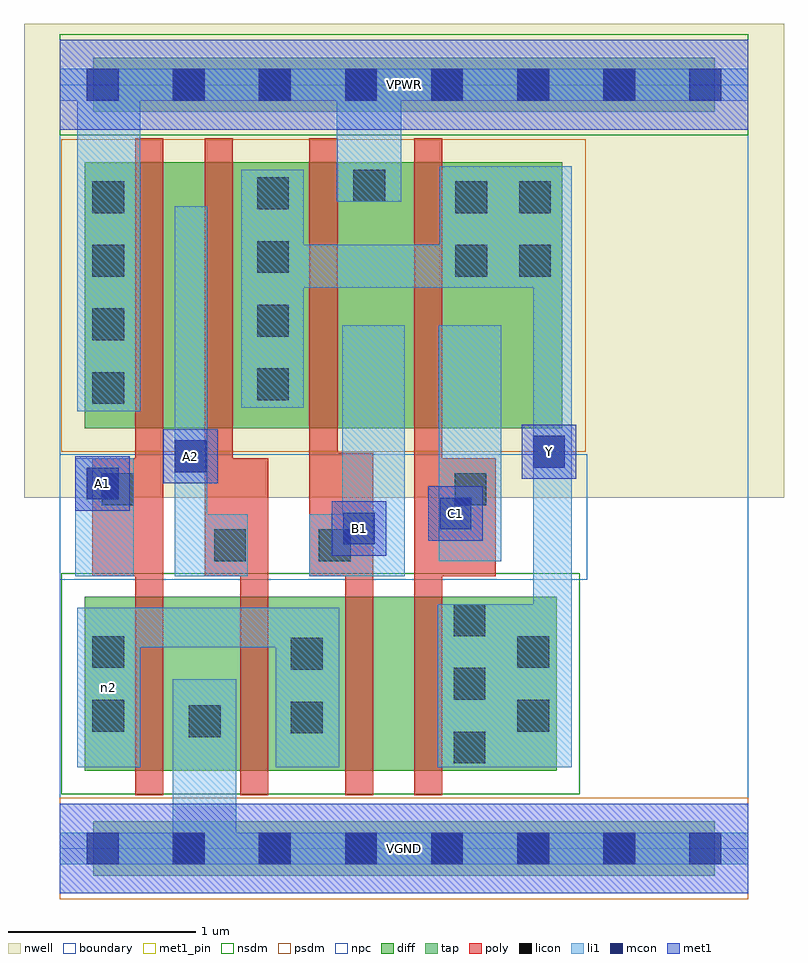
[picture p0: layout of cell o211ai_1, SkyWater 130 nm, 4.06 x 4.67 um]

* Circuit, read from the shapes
.subckt o211ai_1 A1 A2 B1 C1 VGND VPWR Y n2
XM1 VGND A1 n2 VGND sky130_fd_pr__nfet_01v8 w=0.93 l=0.15
XM2 n2 A2 VGND VGND sky130_fd_pr__nfet_01v8 w=0.93 l=0.15
XM3 n1 B1 n2 VGND sky130_fd_pr__nfet_01v8 w=0.93 l=0.15
XM4 Y C1 n1 VGND sky130_fd_pr__nfet_01v8 w=0.93 l=0.15
XM5 n3 A1 VPWR VPWR sky130_fd_pr__pfet_01v8 w=1.42 l=0.15
XM6 Y A2 n3 VPWR sky130_fd_pr__pfet_01v8 w=1.42 l=0.15
XM7 VPWR B1 Y VPWR sky130_fd_pr__pfet_01v8 w=1.42 l=0.15
XM8 Y C1 VPWR VPWR sky130_fd_pr__pfet_01v8 w=1.42 l=0.15
.ends

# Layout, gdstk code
import gdstk
lib = gdstk.Library(unit=1e-6, precision=1e-09)
def R(c, l, rs):  # rectangles x0, y0, x1, y1
    for r in rs: c.add(gdstk.rectangle(r[:2], r[2:], *l))
def A(c, l, x, y, w, h, nx, ny, dx, dy):  # array of equal rectangles
    R(c, l, [(x+i*dx, y+j*dy, x+i*dx+w, y+j*dy+h) for i in range(nx) for j in range(ny)])
nwell = (64, 20)
diff = (65, 20)
tap = (65, 44)
poly = (66, 20)
licon = (66, 44)
li1 = (67, 20)
mcon = (67, 44)
met1_pin = (68, 16)
met1 = (68, 20)
nsdm = (93, 44)
psdm = (94, 20)
npc = (95, 20)
boundary = (235, 4)

o211ai_1 = lib.new_cell('o211ai_1')
R(o211ai_1, nwell, [(-0.19,1.875,3.87,4.405), (0,1.875,3.68,4.405)])
R(o211ai_1, diff, [(0.135,0.415,2.655,1.345), (0.135,2.245,2.685,3.665)])
R(o211ai_1, tap, [(0.18,-0.145,3.5,0.145), (0.18,3.935,3.5,4.225)])
R(o211ai_1, poly, [(0.405,0.285,0.555,3.795), (0.965,0.285,1.115,2.085), (1.525,0.285,1.675,2.115), (1.895,0.285,2.045,3.795), (0.175,1.455,0.555,2.085), (0.775,1.455,0.925,3.795), (0.775,1.455,1.115,2.085), (1.335,1.455,1.485,3.795), (1.335,1.455,1.675,2.115), (1.895,1.455,2.33,2.085)])
A(o211ai_1, licon, 0.605, -0.085, 0.17, 0.17, 6, 2, 0.46, 4.08)
A(o211ai_1, licon, 2.105, 0.455, 0.17, 0.17, 1, 3, 0, 0.34)
A(o211ai_1, licon, 0.175, 2.375, 0.17, 0.17, 1, 4, 0, 0.34)
A(o211ai_1, licon, 1.055, 2.395, 0.17, 0.17, 1, 4, 0, 0.34)
R(o211ai_1, licon, [(0.69,0.595,0.86,0.765), (1.235,0.615,1.405,0.785), (0.175,0.625,0.345,0.795), (2.445,0.625,2.615,0.795), (1.235,0.955,1.405,1.125), (0.175,0.965,0.345,1.135), (2.445,0.965,2.615,1.135), (0.825,1.535,0.995,1.705), (1.385,1.535,1.555,1.705), (0.225,1.835,0.395,2.005), (2.11,1.835,2.28,2.005), (2.115,3.055,2.285,3.225), (2.455,3.055,2.625,3.225), (2.115,3.395,2.285,3.565), (2.455,3.395,2.625,3.565), (1.57,3.455,1.74,3.625)])
R(o211ai_1, li1, [(0,-0.085,3.68,0.085), (0.605,-0.085,0.945,0.905), (0.095,0.435,0.43,1.285), (1.155,0.435,1.495,1.285), (2.02,0.435,2.735,1.305), (2.53,0.435,2.735,3.645), (0.095,1.075,1.495,1.285), (0.085,1.455,0.395,2.085), (0.615,1.455,0.79,3.43), (0.615,1.455,1.005,1.785), (1.335,1.455,1.845,1.785), (1.51,1.455,1.845,2.795), (2.025,1.535,2.36,2.795), (0.095,2.335,0.43,4.165), (0.97,2.355,1.305,3.625), (0.97,2.995,2.735,3.225), (2.03,2.995,2.735,3.645), (1.48,3.455,1.825,4.165), (0,3.995,3.68,4.165)])
A(o211ai_1, mcon, 0.145, -0.085, 0.17, 0.17, 8, 2, 0.46, 4.08)
R(o211ai_1, mcon, [(1.515,1.625,1.685,1.795), (2.03,1.705,2.2,1.875), (0.145,1.865,0.315,2.035), (0.615,2.01,0.785,2.18), (2.53,2.035,2.7,2.205)])
R(o211ai_1, met1_pin, [(0,-0.24,3.68,0.24), (1.455,1.565,1.745,1.855), (1.97,1.645,2.26,1.935), (0.085,1.805,0.375,2.095), (0.555,1.95,0.845,2.24), (2.47,1.975,2.76,2.265), (0,3.84,3.68,4.32)])
R(o211ai_1, met1, [(0,-0.24,3.68,0.24), (1.455,1.565,1.745,1.855), (1.97,1.645,2.26,1.935), (0.085,1.805,0.375,2.095), (0.555,1.95,0.845,2.24), (2.47,1.975,2.76,2.265), (0,3.84,3.68,4.32)])
R(o211ai_1, nsdm, [(0.01,0.29,2.78,1.47), (0,3.81,3.68,4.35)])
R(o211ai_1, psdm, [(0,-0.27,3.68,0.27), (0.01,2.12,2.81,3.79)])
R(o211ai_1, npc, [(0,1.435,2.82,2.105)])
R(o211ai_1, boundary, [(0,0,3.68,4.08)])
o211ai_1.add(gdstk.Label('n2', (0.262,0.86), layer=67, texttype=5))
o211ai_1.add(gdstk.Label('A1', (0.23,1.95), layer=68, texttype=5))
o211ai_1.add(gdstk.Label('A2', (0.7,2.095), layer=68, texttype=5))
o211ai_1.add(gdstk.Label('B1', (1.6,1.71), layer=68, texttype=5))
o211ai_1.add(gdstk.Label('C1', (2.115,1.79), layer=68, texttype=5))
o211ai_1.add(gdstk.Label('Y', (2.615,2.12), layer=68, texttype=5))
o211ai_1.add(gdstk.Label('VPWR', (1.84,4.08), layer=68, texttype=5))
o211ai_1.add(gdstk.Label('VGND', (1.84,0), layer=68, texttype=5))
o211ai_1.add(gdstk.Label('A1', (0.23,1.95), layer=68, texttype=16))
o211ai_1.add(gdstk.Label('A2', (0.7,2.095), layer=68, texttype=16))
o211ai_1.add(gdstk.Label('B1', (1.6,1.71), layer=68, texttype=16))
o211ai_1.add(gdstk.Label('C1', (2.115,1.79), layer=68, texttype=16))
o211ai_1.add(gdstk.Label('Y', (2.615,2.12), layer=68, texttype=16))
o211ai_1.add(gdstk.Label('VPWR', (1.84,4.08), layer=68, texttype=16))
o211ai_1.add(gdstk.Label('VGND', (1.84,0), layer=68, texttype=16))

lib.write_gds('o211ai_1.gds')
